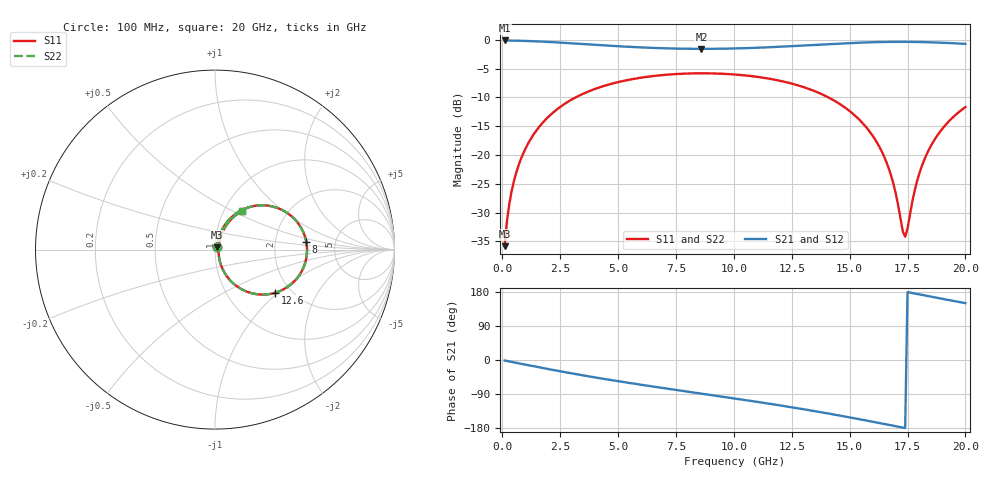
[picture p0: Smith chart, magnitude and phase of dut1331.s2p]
! Touchstone file exported from HFSS 2026.1.0
!  File:  C:/ffzhzh/LocalFiles/Ansys_Project_Files/temp_train_TSV_RDL_1331_1783337927_38820.aedt
!  Generated:  07:47:55 PM Jul  6, 2026
!  Design:  TSV_RDL
!  Project:  temp_train_TSV_RDL_1331_1783337927_38820
! Variables:
!  h_bsmrdl = 5.33um
!  h_ox = 20um
!  h_rdl = 5um
!  h_sub = 80.72um
!  h_tmrdl = 5.37um
!  h_tsv = 80.72um
!  h_via = 3um
!  l_bsmrdl = 648um
!  l_sub = 3462.43um
!  l_tmrdl = 246.33um
!  m_sub = 200um
!  pitch = 51.89um
!  r_tsv = 10.15um
!  s_tmrdl = 10um
!  w_bsmrdl = 19.6um
!  w_sub = 500um
!  w_tmrdl = 24.77um
!  x_tsv_center1 = 258.715um
!  x_tsv_center2 = 926.315um
!  x_tsv_center3 = 1197.415um
!  x_tsv_center4 = 1865.015um
!  x_tsv_center5 = 2136.115um
!  x_tsv_center6 = 2803.715um
# GHz S MA R 50.000000
! Terminal data exported
! Port[1] = TM_RDL1_1_T1
! Port[2] = TM_RDL5_1_T1
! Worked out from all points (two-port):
!   200 points, 100 MHz to 20 GHz, reference 50 ohm
!   highest |S21| = -0.09 dB at 100 MHz (marker M1); lowest = -1.6 dB at 8.6 GHz (marker M2)
!   |S21| within 3 dB of the highest: start of sweep to end of sweep
!   lowest |S11| = -35.8 dB at 100 MHz (marker M3), VSWR 1.03, Z = 51.1 + j1.22 ohm
!   |S11| at or under -10 dB: start of sweep to 3.163 GHz; 14.09 GHz to end of sweep
!   |S22| runs from -35.8 to -5.8 dB; largest |S21 - S12| = 6.6e-14
!   S11 on the Smith chart (normalised r, x): 100 MHz: 1.02, +0.02; 8 GHz: 3.04, +0.35; 12.6 GHz: 1.66, -0.96; 20 GHz: 1.21, +0.56
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0.1  0.01614 47.7  0.9893 -1.3  0.9893 -1.3  0.01614 47.7
! Gamma 0 0 0 0
! Port Impedance 50 0 50 0
0.3  0.03728 67.9  0.9876 -3.8  0.9876 -3.8  0.03728 67.9
0.5  0.05911 71.6  0.9858 -6.2  0.9858 -6.2  0.05911 71.6
1.1  0.1242 70.1  0.9783 -13.5  0.9783 -13.5  0.1242 70.1
2.1  0.2252 60.6  0.958 -25.3  0.958 -25.3  0.2252 60.6
3.5  0.3412 46.1  0.9204 -40.7  0.9204 -40.7  0.3412 46.1
6.8  0.4924 15.1  0.8483 -72.7  0.8483 -72.7  0.4924 15.1
8  0.5104 4.8  0.8378 -83.4  0.8378 -83.4  0.5104 4.8
8.6  0.5128 -0.4  0.8363 -88.8  0.8363 -88.8  0.5128 -0.4
10.1  0.4996 -13.2  0.8436 -102.1  0.8436 -102.1  0.4996 -13.2
12.6  0.4121 -35.8  0.8854 -125.8  0.8854 -125.8  0.4121 -35.8
13.4  0.3648 -43.4  0.9038 -134.0  0.9038 -134.0  0.3648 -43.4
15.5  0.195 -63.4  0.9481 -157.1  0.9481 -157.1  0.1951 -63.4
16.2  0.1264 -68.2  0.9574 -165.3  0.9574 -165.3  0.1264 -68.3
16.7  0.07553 -68.0  0.9613 -171.2  0.9613 -171.2  0.07553 -68.0
17  0.0456 -61.1  0.9624 -174.8  0.9624 -174.8  0.04558 -61.2
17.3  0.02156 -25.4  0.9625 -178.4  0.9625 -178.4  0.02149 -25.5
17.4  0.01952 3.1  0.9623 -179.6  0.9623 -179.6  0.01943 3.1
17.9  0.05803 63.5  0.9598 174.4  0.9598 174.4  0.05798 63.6
18.3  0.09861 67.0  0.9558 169.7  0.9558 169.7  0.09857 67.1
19  0.1687 63.8  0.9454 161.5  0.9454 161.5  0.1687 63.8
20  0.2608 55.0  0.9242 150.1  0.9242 150.1  0.2608 55.0
